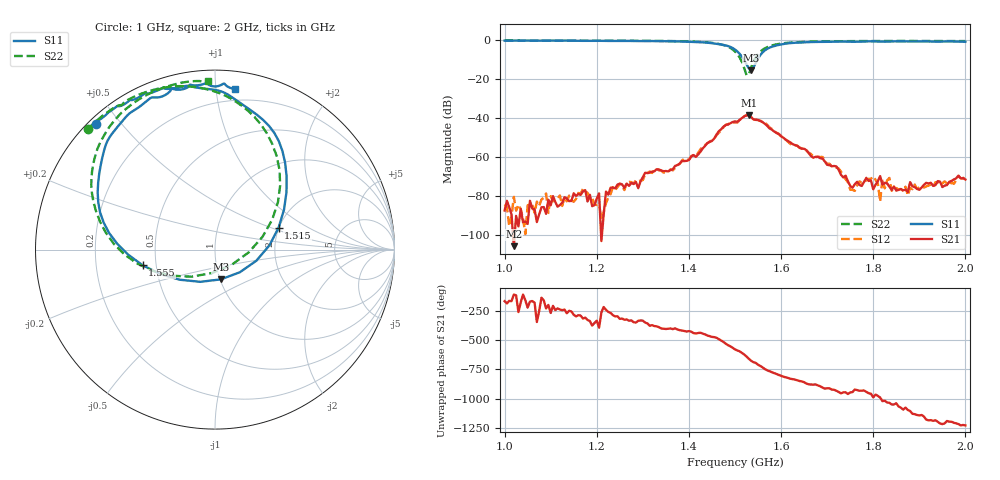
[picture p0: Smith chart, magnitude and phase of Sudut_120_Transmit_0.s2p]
# Hz S RI R 50
! CMT, C1220, 16058040, 17.2.0/1
! Date: 15/08/2018 09:02:13
! Data: Format (Calibration Info)
! Freq  S11: Re/Im (F2)  S21: Re/Im (F2)  S12: Re/Im (F2)  S22: Re/Im (F2)
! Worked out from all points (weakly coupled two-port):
!   201 points, 1 GHz to 2 GHz, reference 50 ohm
!   highest |S21| = -38.70 dB at 1.53 GHz (marker M1); lowest = -105.9 dB at 1.02 GHz (marker M2)
!   lowest |S11| = -15.4 dB at 1.535 GHz (marker M3), VSWR 1.41, Z = 50.4 - j17.2 ohm
!   |S11| at or under -10 dB: 1.519 GHz to 1.549 GHz (29.81 MHz wide, 1.94 % of centre)
!   |S22| runs from -18.0 to -0.2 dB; largest |S21 - S12| = 0.00052
!   S11 on the Smith chart (normalised r, x): 1 GHz: 0.02, +0.43; 1.515 GHz: 1.99, +0.56; 1.555 GHz: 0.42, -0.09; 2 GHz: 0.12, +1.13
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1e9  -0.6628 0.7014  -4.02e-05 -1.09e-05  -5.58e-05 1.97e-05  -0.7103 0.6708
1.02e9  -0.6535 0.7196  -1.58e-06 -4.8e-06  -7.34e-05 -5.79e-05  -0.6946 0.6854
1.17e9  -0.5012 0.8124  8.93e-05 9.28e-05  8.72e-05 0.000123  -0.5588 0.7924
1.225e9  -0.4419 0.8397  -2.39e-05 0.000104  -7.98e-05 4.1e-05  -0.5029 0.8224
1.335e9  -0.2664 0.8951  0.000418 -0.000224  0.000347 -0.000286  -0.3267 0.8945
1.45e9  0.1357 0.8203  -0.000916 -0.00239  -0.00116 -0.00238  0.0872 0.8423
1.5e9  0.399 0.4093  -0.00635 0.00508  -0.00594 0.00479  0.363 0.3571
1.515e9  0.3543 0.1217  -0.00368 0.00921  -0.00394 0.00917  0.2647 0.0712
1.53e9  0.1383 -0.1263  0.00559 0.0102  0.00563 0.0103  -0.0158 -0.13
1.535e9  0.0322 -0.1659  0.00761 0.00732  0.00765 0.00727  -0.13 -0.151
1.555e9  -0.4037 -0.087  0.00828 -0.000135  0.00841 0.000183  -0.5067 -0.0252
1.67e9  -0.4865 0.7497  -0.000895 -0.000309  -0.000957 -0.000341  -0.5513 0.7296
1.725e9  -0.3625 0.8424  -0.000335 0.000318  -0.000395 0.000309  -0.4482 0.8208
1.75e9  -0.3217 0.8473  -0.000121 0.000132  -8.62e-05 0.000114  -0.4055 0.8481
1.785e9  -0.2444 0.891  -0.00021 0.000197  -0.00017 0.000175  -0.3486 0.8774
1.8e9  -0.2358 0.896  -1.16e-06 0.000146  -5.1e-05 0.000309  -0.326 0.8872
1.815e9  -0.2069 0.8905  6.13e-06 0.000319  -6.42e-06 7.07e-05  -0.3027 0.8967
1.82e9  -0.1919 0.8912  0.000104 0.000162  0.000131 0.000238  -0.2959 0.8996
1.835e9  -0.1515 0.9043  0.000124 0.000118  0.000218 0.000187  -0.2746 0.9065
1.84e9  -0.1444 0.9099  0.000124 7.01e-05  0.000122 5.44e-05  -0.2666 0.9087
1.875e9  -0.1138 0.9148  0.000119 -3.82e-05  9.16e-05 -4.39e-05  -0.2137 0.923
2e9  0.1127 0.8948  -0.000228 -0.000128  -0.00032 -0.000153  -0.0398 0.9407
